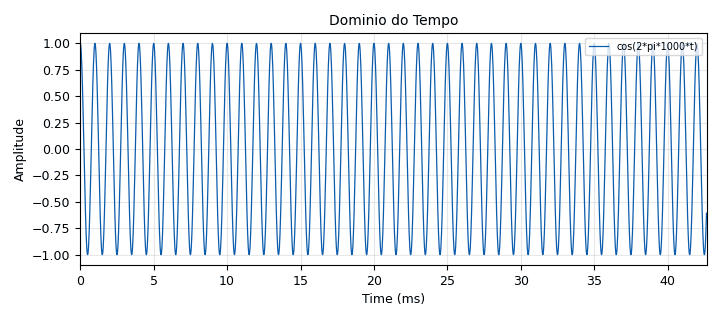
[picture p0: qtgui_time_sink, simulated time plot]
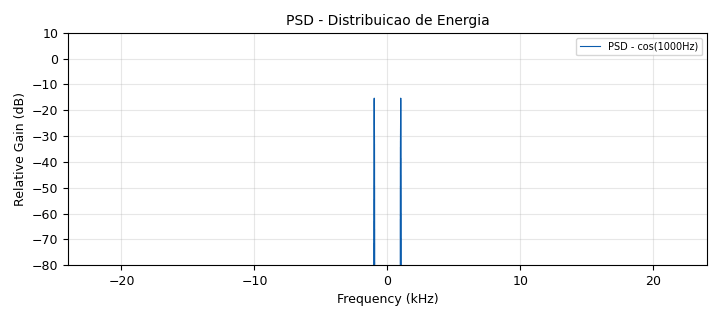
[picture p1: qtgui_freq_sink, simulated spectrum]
options:
  parameters:
    author: Curso PriCom - UnB
    comment: |-
      Exemplo 06 - Parseval: Energia no Tempo e Frequencia
      Mostra que a energia no dominio do tempo e igual a energia no dominio da frequencia.
    description: Parseval - Energia no Tempo e Frequencia
    generate_options: qt_gui
    id: exemplo_06_parseval_energia
    output_language: python
    title: 'Exemplo 06 - Parseval: Energia no Tempo e Frequencia'
  states: {}

blocks:
- name: samp_rate
  id: variable
  parameters:
    comment: Taxa de amostragem
    value: '48000'
  states: {}
- name: note_info
  id: note
  parameters:
    comment: 'PARSEVAL: A energia total do sinal pode ser calculada no tempo (integral de x²) ou na frequencia (integral de |X(f)|²). O grafico de frequencia mostra como a energia se distribui.'
    note: Teorema de Parseval
  states: {}
- name: analog_sig_source
  id: analog_sig_source_x
  parameters:
    amp: '1'
    comment: Cosseno 1000 Hz
    freq: '1000'
    offset: '0'
    phase: '0'
    samp_rate: samp_rate
    type: float
    waveform: analog.GR_COS_WAVE
  states: {}
- name: blocks_throttle
  id: blocks_throttle2
  parameters:
    samples_per_second: samp_rate
    type: float
  states: {}
- name: qtgui_time_sink
  id: qtgui_time_sink_x
  parameters:
    autoscale: 'True'
    comment: Energia no dominio do tempo
    grid: 'True'
    gui_hint: 0,0,1,1
    label1: cos(2*pi*1000*t)
    name: '"Dominio do Tempo"'
    size: '2048'
    srate: samp_rate
    type: float
    width1: '2'
    ymax: '2'
    ymin: '-2'
  states: {}
- name: qtgui_freq_sink
  id: qtgui_freq_sink_x
  parameters:
    bw: samp_rate
    comment: PSD - distribuicao de energia na frequencia
    fc: '0'
    fftsize: '4096'
    grid: 'True'
    gui_hint: 1,0,1,1
    label1: PSD - cos(1000Hz)
    name: '"PSD - Distribuicao de Energia"'
    type: float
    width1: '2'
    ymin: '-80'
  states: {}

connections:
- [analog_sig_source, '0', blocks_throttle, '0']
- [blocks_throttle, '0', qtgui_time_sink, '0']
- [blocks_throttle, '0', qtgui_freq_sink, '0']

metadata:
  file_format: 1
  grc_version: 3.10.12.0
